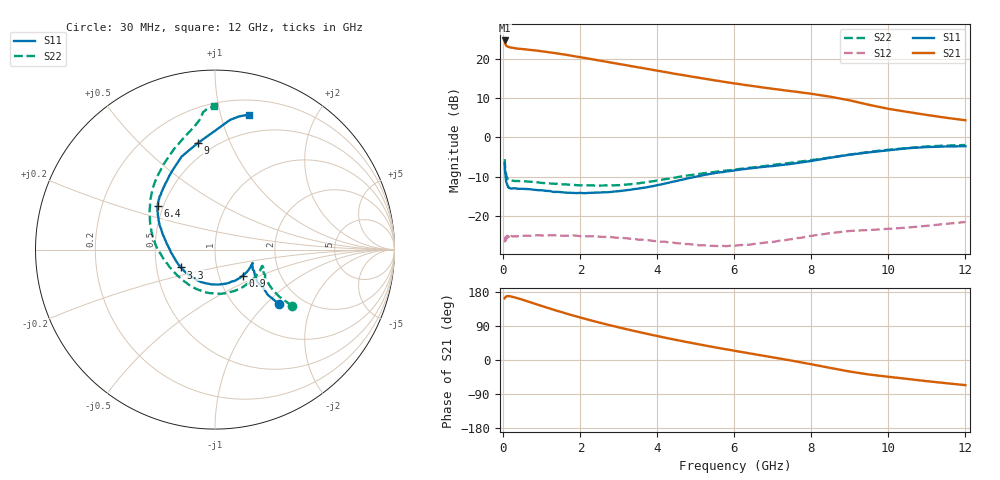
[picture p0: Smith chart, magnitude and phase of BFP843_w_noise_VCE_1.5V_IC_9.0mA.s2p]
! Infineon Technologies  Discrete & RF Semiconductors
! BFP843
! VCE =  1.5 V,  IC =  9.0 mA
! Common Emitter S-Parameters:  Aug 2013
# GHz  S  MA  R  50
!  f  S11  S21  S12  S22
! GHz  MAG  ANG  MAG  ANG  MAG  ANG  MAG  ANG
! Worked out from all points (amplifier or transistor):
!   103 points, 30 MHz to 12 GHz, reference 50 ohm
!   highest |S21| = 24.8 dB at 30 MHz (marker M1)
!   |S21| within 3 dB of that: start of sweep to 1.166 GHz
!   unconditionally stable (mu >= 1): 134.6 MHz to 147 MHz; 165.4 MHz to 10.97 GHz
!   at 400 MHz: K = 1.02, MAG = 23.2 dB, |S12| = -25.2 dB
!   at 3.7 GHz: K = 1.32, MAG = 18.5 dB, |S12| = -26.3 dB
!   at 12 GHz: K = 0.85, MSG = 13.0 dB, |S12| = -21.6 dB
!   lowest NFmin = 0.91 dB at 450 MHz
!   S11 on the Smith chart (normalised r, x): 30 MHz: 1.54, -1.21; 900 MHz: 1.29, -0.39; 3.3 GHz: 0.67, -0.14; 6.4 GHz: 0.47, +0.27; 9 GHz: 0.41, +0.76; 12 GHz: 0.33, +1.23
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0.03  0.4697 -40.4  17.42 162.9  0.0454 29.0  0.5283 -36.2
0.04  0.3876 -40.6  16.33 163.9  0.0488 23.9  0.4436 -36.2
0.05  0.3441 -38.4  15.71 166.3  0.0525 17.0  0.3935 -35.0
0.07  0.2762 -34.5  14.94 167.6  0.0521 13.0  0.3387 -30.9
0.13  0.2325 -25.2  14.43 168.9  0.0544 6.7  0.2854 -22.2
0.3  0.2238 -19.9  13.81 165.0  0.0547 2.5  0.2762 -20.0
0.6  0.2189 -30.5  13.35 155.6  0.0553 0.1  0.2731 -30.0
0.9  0.2115 -43.5  12.86 145.6  0.0561 -0.8  0.2657 -43.1
1.4  0.2011 -67.4  11.89 129.7  0.0556 -4.4  0.2545 -65.6
1.7  0.1958 -81.7  11.27 120.6  0.0553 -5.9  0.249 -79.0
2.1  0.1934 -101.3  10.44 109.2  0.0545 -7.9  0.2442 -96.3
2.7  0.1987 -127.9  9.26 93.4  0.0534 -11.6  0.2429 -120.4
3.3  0.2143 -152.3  8.21 78.9  0.0506 -13.8  0.252 -143.4
4.1  0.2507 -179.6  7.012 61.0  0.0463 -14.8  0.2871 -168.0
5  0.315 160.7  5.89 42.8  0.0426 -11.7  0.3371 173.7
6.1  0.3852 146.4  4.836 22.6  0.0417 -2.7  0.393 157.0
6.4  0.4012 142.8  4.604 17.3  0.0424 -0.1  0.4101 152.7
7.6  0.4678 124.8  3.846 -3.7  0.0516 4.2  0.4835 136.0
8.5  0.5508 109.7  3.315 -21.1  0.0597 1.8  0.5548 121.1
9  0.6013 99.2  2.979 -30.5  0.0636 -1.1  0.6043 112.3
10.5  0.7274 83.4  2.12 -50.0  0.0702 -6.8  0.7311 96.5
12  0.7718 75.8  1.659 -66.3  0.0827 -13.6  0.7997 90.4
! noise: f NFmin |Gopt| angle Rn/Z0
0.45  0.91  0.08  6  0.01
0.9  0.92  0.08  17  0.04
1.5  0.94  0.08  27  0.09
1.9  0.97  0.07  36  0.17
2.4  1  0.06  47  0.24
3.5  1.06  0.03  59  0.28
5.5  1.2  0.15  -131  0.32
10  1.84  0.5  -68  0.42
